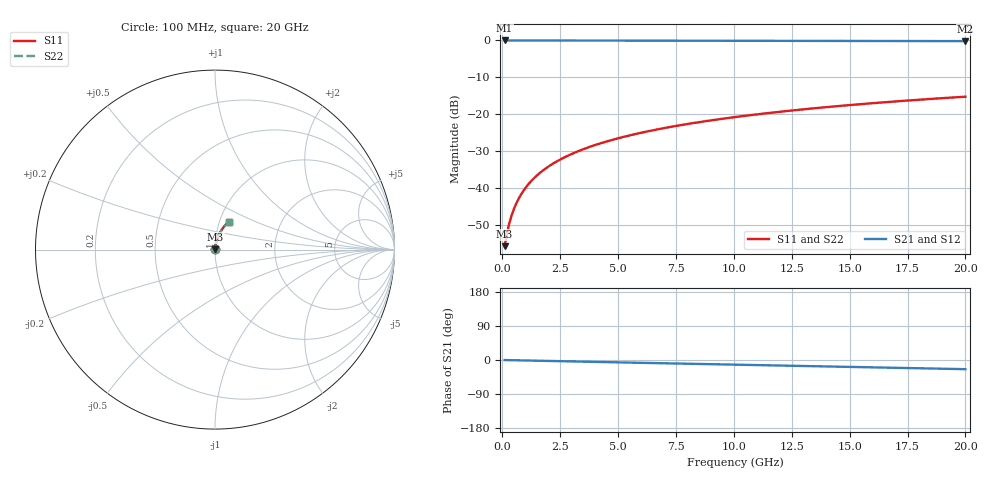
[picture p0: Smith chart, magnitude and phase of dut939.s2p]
! Touchstone file exported from HFSS 2026.1.0
!  File:  C:/ffzhzh/LocalFiles/Ansys_Project_Files/temp_train_TMRDL_939_1783158479_43440.aedt
!  Generated:  05:49:13 PM Jul  4, 2026
!  Design:  TMRDL
!  Project:  temp_train_TMRDL_939_1783158479_43440
! Variables:
!  h_bsmrdl = 2um
!  h_ox = 20um
!  h_rdl = 5um
!  h_sub = 80um
!  h_tmrdl = 5.15um
!  h_tsv = 80um
!  h_via = 3um
!  l_bsmrdl = 300um
!  l_sub = 767.99um
!  l_tmrdl = 367.99um
!  m_sub = 200um
!  pitch = 43.75um
!  r_tsv = 6um
!  s_tmrdl = 10um
!  w_bsmrdl = 18um
!  w_sub = 500um
!  w_tmrdl = 25.87um
!  x_tsv_center1 = 380.925um
!  x_tsv_center2 = 698.925um
!  x_tsv_center3 = 1092.785um
!  x_tsv_center4 = 1410.785um
!  x_tsv_center5 = 1804.645um
!  x_tsv_center6 = 2122.645um
# GHz S MA R 50.000000
! Terminal data exported
! Port[1] = TM_RDL1_1_T1
! Port[2] = TM_RDL1_1_T2
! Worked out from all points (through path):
!   200 points, 100 MHz to 20 GHz, reference 50 ohm
!   highest |S21| = -0.01 dB at 100 MHz (marker M1); lowest = -0.2 dB at 20 GHz (marker M2)
!   group delay of S21, straight-line fit = 3.35 ps
!   lowest |S11| = -55.8 dB at 100 MHz (marker M3), VSWR 1.00, Z = 50.1 + j0.112 ohm
!   |S11| at or under -10 dB: start of sweep to end of sweep
!   |S22| runs from -55.8 to -15.3 dB; largest |S21 - S12| = 1.3e-14
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0.1  0.001623 43.6  0.9988 -0.1  0.9988 -0.1  0.001623 43.6
! Gamma 0 0 0 0
! Port Impedance 50 0 50 0
0.2  0.002418 58.7  0.9987 -0.3  0.9987 -0.3  0.002418 58.7
0.3  0.003293 66.8  0.9986 -0.4  0.9986 -0.4  0.003293 66.8
0.4  0.004213 71.6  0.9986 -0.5  0.9986 -0.5  0.004213 71.6
0.5  0.005157 74.6  0.9985 -0.6  0.9985 -0.6  0.005157 74.6
0.6  0.006114 76.6  0.9985 -0.8  0.9985 -0.8  0.006114 76.6
0.8  0.008044 79.0  0.9984 -1.0  0.9984 -1.0  0.008044 79.0
1.1  0.01095 80.7  0.9983 -1.4  0.9983 -1.4  0.01095 80.7
1.3  0.01288 81.3  0.9982 -1.6  0.9982 -1.6  0.01288 81.3
1.5  0.0148 81.6  0.9981 -1.9  0.9981 -1.9  0.0148 81.6
1.8  0.01767 81.8  0.9979 -2.3  0.9979 -2.3  0.01767 81.8
2.1  0.02051 81.8  0.9978 -2.6  0.9978 -2.6  0.02051 81.8
2.7  0.02614 81.6  0.9974 -3.4  0.9974 -3.4  0.02614 81.6
3.5  0.03351 81.0  0.9968 -4.4  0.9968 -4.4  0.03351 81.0
4.2  0.03988 80.4  0.9962 -5.2  0.9962 -5.2  0.03988 80.4
5  0.04709 79.6  0.9955 -6.2  0.9955 -6.2  0.04709 79.7
6.8  0.06308 77.9  0.9939 -8.4  0.9939 -8.4  0.06308 77.9
8.3  0.07621 76.3  0.9925 -10.2  0.9925 -10.2  0.07621 76.3
10.1  0.09175 74.4  0.9907 -12.4  0.9907 -12.4  0.09175 74.4
13.4  0.1196 70.8  0.987 -16.4  0.987 -16.4  0.1196 70.8
16.7  0.1466 67.2  0.9827 -20.3  0.9827 -20.3  0.1466 67.2
20  0.1726 63.5  0.978 -24.2  0.978 -24.2  0.1726 63.5
